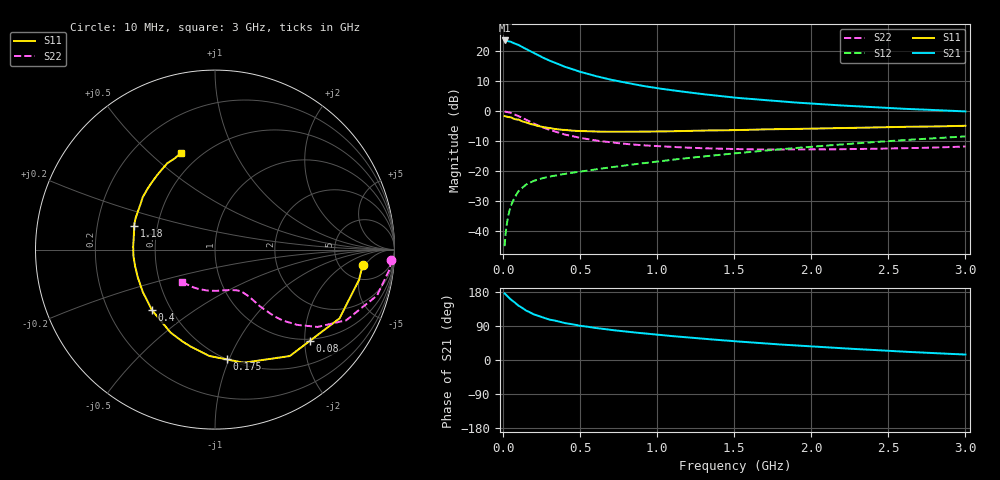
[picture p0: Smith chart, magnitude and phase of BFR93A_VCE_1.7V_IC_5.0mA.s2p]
! Infineon Technologies  Discrete & RF Semiconductors
! BFR93A
! VCE =  1.7 V,  IC =  5.0 mA
! Common Emitter S-Parameters:  Nov 2015
# GHz  S  MA  R  50
!  f  S11  S21  S12  S22
! GHz  MAG  ANG  MAG  ANG  MAG  ANG  MAG  ANG
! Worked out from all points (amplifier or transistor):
!   180 points, 10 MHz to 3 GHz, reference 50 ohm
!   highest |S21| = 23.6 dB at 10 MHz (marker M1)
!   |S21| within 3 dB of that: start of sweep to 155.4 MHz
!   unconditionally stable (mu >= 1): 725.5 MHz to end of sweep
!   at 160 MHz: K = 0.34, MSG = 22.3 dB, |S12| = -24.2 dB
!   at 1.22 GHz: K = 1.13, MAG = 8.6 dB, |S12| = -15.5 dB
!   at 3 GHz: K = 1.00, MAG = 3.8 dB, |S12| = -8.4 dB
!   S11 on the Smith chart (normalised r, x): 10 MHz: 8.16, -4.38; 80 MHz: 0.96, -2.11; 175 MHz: 0.50, -0.98; 400 MHz: 0.39, -0.35; 1.18 GHz: 0.37, +0.12; 3 GHz: 0.40, +0.63
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0.01  0.8267 -5.9  15.12 175.7  0.0056 86.6  0.9849 -3.3
0.02  0.8202 -11.8  15.01 171.5  0.0109 83.1  0.9784 -6.5
0.05  0.7927 -28.9  14.39 159.7  0.0261 75.2  0.9385 -15.8
0.08  0.7331 -44.0  13.27 150.4  0.038 66.8  0.8686 -22.9
0.1  0.7247 -54.9  12.74 143.4  0.0462 63.6  0.8305 -28.3
0.15  0.6503 -75.7  10.89 130.2  0.0597 55.5  0.7161 -37.0
0.175  0.6148 -84.0  10.06 125.7  0.0643 53.1  0.6675 -39.6
0.2  0.5935 -93.1  9.306 120.4  0.0689 51.0  0.6205 -42.5
0.24  0.5568 -104.1  8.257 114.5  0.0742 48.6  0.5603 -45.5
0.26  0.544 -109.1  7.802 111.7  0.0767 47.7  0.534 -46.8
0.3  0.5243 -118.2  6.996 106.8  0.0809 46.8  0.4885 -48.6
0.4  0.4866 -136.2  5.512 97.5  0.0899 46.0  0.4081 -51.4
0.52  0.4633 -151.7  4.402 89.3  0.1001 46.7  0.3517 -53.0
0.6  0.4572 -160.2  3.856 84.5  0.1071 47.6  0.3244 -54.1
0.7  0.4546 -168.3  3.347 79.3  0.116 48.7  0.3015 -55.4
0.9  0.4562 177.9  2.658 70.7  0.1346 50.7  0.2703 -58.8
1.02  0.4578 171.3  2.378 65.9  0.1467 51.4  0.2597 -61.2
1.18  0.469 163.8  2.095 60.2  0.1632 52.0  0.2475 -65.5
1.52  0.4836 150.0  1.668 49.0  0.1997 52.2  0.2331 -76.1
2.02  0.512 134.3  1.328 35.5  0.2576 50.2  0.2297 -94.5
2.52  0.5429 121.0  1.124 23.9  0.3191 46.0  0.2387 -114.7
3  0.5711 109.2  0.991 14.4  0.3794 40.7  0.2576 -136.2
